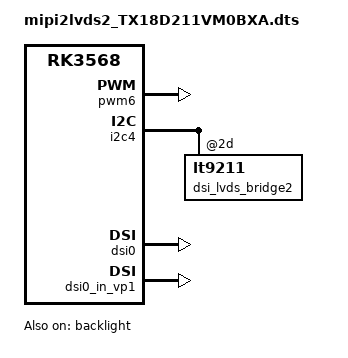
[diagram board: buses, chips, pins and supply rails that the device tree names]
/dts-v1/;
/plugin/;
/ {
	compatible = "rockchip,rk3568";

	fragment@0 {
		target = <&pwm6>;
		__overlay__ {
			status = "okay";
		};
	};
	fragment@1 {
		target = <&backlight>;
		__overlay__ {
			status = "okay";
			panel-type = "LVDS";
			pwms = <&pwm6 0 1000000 0>;
			minimal-brightness-level = <26>;
			brightness-levels = <
					255 254 253 252 251 250 249 248
					247 246 245 244 243 242 241 240
					239 238 237 236 235 234 233 232
					231 230 229 228 227 226 225 224
					223 222 221 220 219 218 217 216
					215 214 213 212 211 210 209 208
					207 206 205 204 203 202 201 200
					199 198 197 196 195 194 193 192
					191 190 189 188 187 186 185 184
					183 182 181 180 179 178 177 176
					175 174 173 172 171 170 169 168
					167 166 165 164 163 162 161 160
					159 158 157 156 155 154 153 152
					151 150 149 148 147 146 145 144
					143 142 141 140 139 138 137 136
					135 134 133 132 131 130 129 128
					127 126 125 124 123 122 121 120
					119 118 117 116 115 114 113 112
					111 110 109 108 107 106 105 104
					103 102 101 100  99  98  97  96
					95  94  93  92  91  90  89  88
					87  86  85  84  83  82  81  80
					79  78  77  76  75  74  73  72
					71  70  69  68  67  66  65  64
					63  62  61  60  59  58  57  56
					55  54  53  52  51  50  49  48
					47  46  45  44  43  42  41  40
					39  38  37  36  35  34  33  32
					31  30  29  28  27  26  25  24
					23  22  21  20  19  18  17  16
					15  14  13  12  11  10   9   8
					7   6   5   4   3   2    2   0>;
		};
	};
	fragment@2 {
		target = <&i2c4>;
		__overlay__ {
			status = "okay";
			dsi_lvds_bridge2: lt9211@2d {
				status = "okay";
				dsi,lanes = <4>;
				lvds-format = <2>;//VESA
				lvds-bpp = <18>;
				Tinker3;
				enable-overlay;
				//test-pattern;
			};
		};
	};
	fragment@3 {
		target = <&dsi0>;
		__overlay__ {
			status = "okay";
			dsi0_panel: panel@0 {
				backlight = <&backlight>;

				width-mm = <152>;
				height-mm = <91>;
				bpc=<6>;
				bus-format = <0x1009>;//<MEDIA_BUS_FMT_RGB666_1X18>;
				dsi,flags = <0x03>;//101000000011
				dsi,format = <0>;//MIPI_DSI_FMT_RGB888:
				dsi,lanes = <4>;

				t1=<1000>;//VCC on to start lvds signal
				t2=<2100>;//t2-t6: LVDS signal(start) to turn Backlihgt on or Backlight sys Enable
				t3=<1000>;//Backlight sys Disable or Backlihgt(off) to stop lvds signal
				t4=<1000>;//LVDS signal to turn VCC off
				t5=<1000>;//VCC off to turn VCC on
				t6=<0>;//Backlight sys Enable to turn Backlight on
				t7=<0>;//Backlight off to Backlight sys Disable
				//t1 -> t2-t6 -> t6 -> t3 -> t7 -> t4 -> t5

				disp_timings0: display-timings {
					native-mode = <&dsi0_timing0>;

					dsi0_timing0: timing0  {
						clock-frequency = <33300000>;
						hactive = <800>;
						vactive = <480>;
						hfront-porch = <102>;
						hback-porch = <102>;
						hsync-len = <52>;
						vfront-porch = <18>;
						vsync-len = <9>;
						vback-porch = <18>;
						hsync-active = <0>;
						vsync-active = <0>;
						de-active = <1>;
						pixelclk-active = <0>;
					};
				};
			};
		};
	};
	fragment@4 {
		target = <&edp>;
		__overlay__ {
			status = "disabled";
		};
	};
	fragment@5 {
		target = <&edp_phy>;
		__overlay__ {
			status = "disabled";
		};
	};
	fragment@6 {
		target = <&panel_edp>;
		__overlay__ {
			status = "disabled";
		};
	};
	fragment@7 {
		target = <&dsi0>;
		__overlay__ {
			status = "okay";
		};
	};
	fragment@8 {
		target = <&dsi0_in_vp1>;
		__overlay__ {
			status = "okay";
		};
	};
	fragment@9 {
		target = <&edp_in_vp1>;
		__overlay__ {
			status = "disabled";
		};
	};
};
